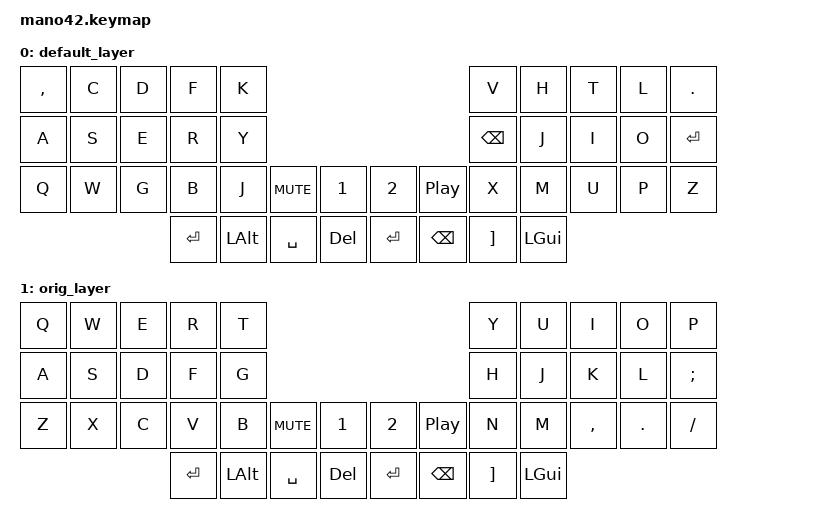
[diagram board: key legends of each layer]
/*
 * Copyright (c) 2022 The ZMK Contributors
 *
 * SPDX-License-Identifier: MIT
 */

#include <behaviors.dtsi>
#include <dt-bindings/zmk/keys.h>
#include <dt-bindings/zmk/bt.h>
#include <dt-bindings/zmk/outputs.h>

/ {
    

    keymap {
        compatible = "zmk,keymap";

        default_layer {
            bindings = <
                            
&kp COMMA &kp C   &kp D   &kp F    &kp K                                                        &kp V      &kp H       &kp T      &kp L     &kp DOT    
&kp A     &kp S   &kp E   &kp R    &kp Y                                                        &kp BSPC   &kp J       &kp I      &kp O     &kp RET 
&kp Q     &kp W   &kp G   &kp B    &kp J     &kp C_MUTE &kp N1             &kp N2    &kp C_PP   &kp X      &kp M       &kp U  &kp P     &kp Z
                          &kp RET  &kp LALT  &kp SPACE  &kp DEL            &kp RET   &kp BSPC   &kp RBKT   &kp LGUI  
            >;

           
        };
        
        
        
        orig_layer {
//   ------------------------------------------------------------------------------------------------------------
//  0|  ESC  |  1  |  2  |  3   |  4   |  5   |                     |  6   |  7    |  8    |  9   |   0   |   =   | 11
// 12|  TAB  |  Q  |  W  |  E   |  R   |  T   |                     |  Y   |  U    |  I    |  O   |   P   |   [   | 23
// 24|  SFT  |  A  |  S  |  D   |  F   |  G   |  RESET  |  | RESET  |  H   |  J    |  K    |  L   |   ;   | ' SFT | 37
// 38|  CTRL |  Z  |  X  |  C   |  V   |  B   |  MUTE   |  | PLAY   |  N   |  M    |  ,    |  .   |   /   | \ CTRL| 51
// 52                    |ENT RS|  ALT | SPACE|DELETE LW|  |ENTER RS| BSPC |  ] LW | RGUI  |                        59
            bindings = <
                            
&kp Q  &kp W    &kp E      &kp R     &kp T                                                  &kp Y     &kp U       &kp I     &kp O    &kp P    
&kp A  &kp S   &kp D      &kp F   &kp G                                                  &kp H     &kp J       &kp K     &kp L    &kp SEMI 
&kp Z  &kp X    &kp C      &kp V     &kp B      &kp C_MUTE &kp N1           &kp N2  &kp C_PP      &kp N     &kp M       &kp COMMA &kp DOT  &kp FSLH
                           &kp RET  &kp LALT  &kp SPACE &kp DEL            &kp RET  &kp BSPC &kp RBKT  &kp LGUI  
            >;

           
        };

        

      
    };
};
